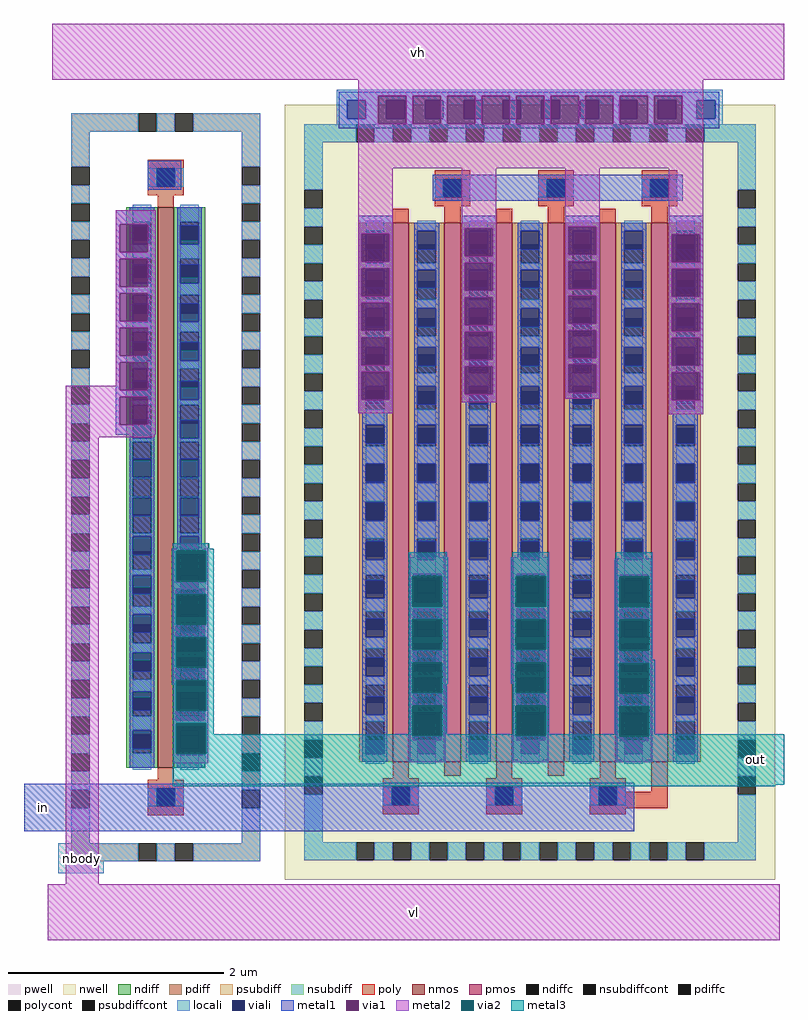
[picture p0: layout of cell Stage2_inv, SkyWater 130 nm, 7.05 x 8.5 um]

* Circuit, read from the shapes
.subckt Stage2_inv in vh vl nbody out
XM1 out in vl nbody sky130_fd_pr__nfet_01v8 w=5.2 l=0.15
XM2 out in vh vh sky130_fd_pr__pfet_01v8 w=5 l=0.15 m=6
.ends

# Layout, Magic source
magic
tech sky130A
magscale 1 2
<< nwell >>
rect 518 1248 582 1268
rect 710 1248 774 1264
rect 902 1248 966 1266
rect 518 1222 612 1248
rect 518 1208 596 1222
rect 710 1218 804 1248
rect 902 1220 996 1248
rect 710 1208 786 1218
rect 902 1208 980 1220
rect 518 1118 582 1208
rect 710 1114 774 1208
rect 902 1116 966 1208
rect 1094 1120 1158 1270
rect 612 332 684 566
rect 604 292 684 332
rect 678 148 708 158
rect 870 148 900 158
rect 564 96 1030 148
rect 1062 142 1092 158
<< poly >>
rect 1062 105 1092 151
rect 1009 101 1092 105
rect 997 75 1092 101
<< locali >>
rect 478 1388 1194 1408
rect 478 1354 498 1388
rect 532 1354 570 1388
rect 604 1354 642 1388
rect 676 1354 714 1388
rect 748 1354 786 1388
rect 820 1354 858 1388
rect 892 1354 930 1388
rect 964 1354 1002 1388
rect 1036 1354 1074 1388
rect 1108 1354 1146 1388
rect 1180 1354 1194 1388
rect 478 1336 1194 1354
rect -38 -46 46 10
<< viali >>
rect 498 1354 532 1388
rect 570 1354 604 1388
rect 642 1354 676 1388
rect 714 1354 748 1388
rect 786 1354 820 1388
rect 858 1354 892 1388
rect 930 1354 964 1388
rect 1002 1354 1036 1388
rect 1074 1354 1108 1388
rect 1146 1354 1180 1388
<< metal1 >>
rect 482 1397 1188 1404
rect 482 1388 555 1397
rect 482 1354 498 1388
rect 532 1354 555 1388
rect 482 1345 555 1354
rect 607 1345 619 1397
rect 671 1388 683 1397
rect 735 1388 747 1397
rect 799 1388 811 1397
rect 863 1388 875 1397
rect 927 1388 939 1397
rect 991 1388 1003 1397
rect 676 1354 683 1388
rect 927 1354 930 1388
rect 991 1354 1002 1388
rect 671 1345 683 1354
rect 735 1345 747 1354
rect 799 1345 811 1354
rect 863 1345 875 1354
rect 927 1345 939 1354
rect 991 1345 1003 1354
rect 1055 1345 1067 1397
rect 1119 1388 1188 1397
rect 1119 1354 1146 1388
rect 1180 1354 1188 1388
rect 1119 1345 1188 1354
rect 482 1336 1188 1345
rect 128 1222 190 1276
rect 656 1202 1120 1250
rect 68 1158 142 1184
rect 68 1106 76 1158
rect 128 1106 142 1158
rect 68 1094 142 1106
rect 68 1042 76 1094
rect 128 1042 142 1094
rect 68 1030 142 1042
rect 68 978 76 1030
rect 128 978 142 1030
rect 68 966 142 978
rect 68 914 76 966
rect 128 914 142 966
rect 68 902 142 914
rect 68 850 76 902
rect 128 850 142 902
rect 68 838 142 850
rect 68 786 76 838
rect 128 786 142 838
rect 518 1141 582 1174
rect 518 1089 524 1141
rect 576 1089 582 1141
rect 518 1077 582 1089
rect 518 1025 524 1077
rect 576 1025 582 1077
rect 518 1013 582 1025
rect 518 961 524 1013
rect 576 961 582 1013
rect 518 949 582 961
rect 518 897 524 949
rect 576 897 582 949
rect 518 885 582 897
rect 518 833 524 885
rect 576 833 582 885
rect 518 808 582 833
rect 710 1151 774 1174
rect 710 1099 716 1151
rect 768 1099 774 1151
rect 710 1087 774 1099
rect 710 1035 716 1087
rect 768 1035 774 1087
rect 710 1023 774 1035
rect 710 971 716 1023
rect 768 971 774 1023
rect 710 959 774 971
rect 710 907 716 959
rect 768 907 774 959
rect 710 895 774 907
rect 710 843 716 895
rect 768 843 774 895
rect 710 828 774 843
rect 902 1154 966 1174
rect 902 1102 908 1154
rect 960 1102 966 1154
rect 902 1090 966 1102
rect 902 1038 908 1090
rect 960 1038 966 1090
rect 902 1026 966 1038
rect 902 974 908 1026
rect 960 974 966 1026
rect 902 962 966 974
rect 902 910 908 962
rect 960 910 966 962
rect 902 898 966 910
rect 902 846 908 898
rect 960 846 966 898
rect 902 834 966 846
rect 1094 1140 1158 1174
rect 1094 1088 1100 1140
rect 1152 1088 1158 1140
rect 1094 1076 1158 1088
rect 1094 1024 1100 1076
rect 1152 1024 1158 1076
rect 1094 1012 1158 1024
rect 1094 960 1100 1012
rect 1152 960 1158 1012
rect 1094 948 1158 960
rect 1094 896 1100 948
rect 1152 896 1158 948
rect 1094 884 1158 896
rect 1094 832 1100 884
rect 1152 832 1158 884
rect 1094 806 1158 832
rect 68 768 142 786
rect 174 546 240 556
rect 174 494 180 546
rect 232 494 240 546
rect 174 482 240 494
rect 174 430 180 482
rect 232 430 240 482
rect 174 418 240 430
rect 174 366 180 418
rect 232 366 240 418
rect 174 354 240 366
rect 174 302 180 354
rect 232 302 240 354
rect 174 290 240 302
rect 174 238 180 290
rect 232 238 240 290
rect 174 226 240 238
rect 174 174 180 226
rect 232 174 240 226
rect 174 158 240 174
rect 614 509 680 540
rect 614 457 620 509
rect 672 457 680 509
rect 614 445 680 457
rect 614 393 620 445
rect 672 393 680 445
rect 614 381 680 393
rect 614 329 620 381
rect 672 329 680 381
rect 614 317 680 329
rect 614 265 620 317
rect 672 265 680 317
rect 614 253 680 265
rect 614 201 620 253
rect 672 201 680 253
rect 614 164 680 201
rect 806 509 872 540
rect 806 457 812 509
rect 864 457 872 509
rect 806 445 872 457
rect 806 393 812 445
rect 864 393 872 445
rect 806 381 872 393
rect 806 329 812 381
rect 864 329 872 381
rect 806 317 872 329
rect 806 265 812 317
rect 864 265 872 317
rect 806 253 872 265
rect 806 201 812 253
rect 864 201 872 253
rect 806 164 872 201
rect 998 508 1064 538
rect 998 456 1004 508
rect 1056 456 1064 508
rect 998 444 1064 456
rect 998 392 1004 444
rect 1056 392 1064 444
rect 998 380 1064 392
rect 998 328 1004 380
rect 1056 328 1064 380
rect 998 316 1064 328
rect 998 264 1004 316
rect 1056 264 1064 316
rect 998 252 1064 264
rect 998 200 1004 252
rect 1056 200 1064 252
rect 998 164 1064 200
rect 564 120 1030 122
rect -102 32 1030 120
<< via1 >>
rect 555 1388 607 1397
rect 555 1354 570 1388
rect 570 1354 604 1388
rect 604 1354 607 1388
rect 555 1345 607 1354
rect 619 1388 671 1397
rect 683 1388 735 1397
rect 747 1388 799 1397
rect 811 1388 863 1397
rect 875 1388 927 1397
rect 939 1388 991 1397
rect 1003 1388 1055 1397
rect 619 1354 642 1388
rect 642 1354 671 1388
rect 683 1354 714 1388
rect 714 1354 735 1388
rect 747 1354 748 1388
rect 748 1354 786 1388
rect 786 1354 799 1388
rect 811 1354 820 1388
rect 820 1354 858 1388
rect 858 1354 863 1388
rect 875 1354 892 1388
rect 892 1354 927 1388
rect 939 1354 964 1388
rect 964 1354 991 1388
rect 1003 1354 1036 1388
rect 1036 1354 1055 1388
rect 619 1345 671 1354
rect 683 1345 735 1354
rect 747 1345 799 1354
rect 811 1345 863 1354
rect 875 1345 927 1354
rect 939 1345 991 1354
rect 1003 1345 1055 1354
rect 1067 1388 1119 1397
rect 1067 1354 1074 1388
rect 1074 1354 1108 1388
rect 1108 1354 1119 1388
rect 1067 1345 1119 1354
rect 76 1106 128 1158
rect 76 1042 128 1094
rect 76 978 128 1030
rect 76 914 128 966
rect 76 850 128 902
rect 76 786 128 838
rect 524 1089 576 1141
rect 524 1025 576 1077
rect 524 961 576 1013
rect 524 897 576 949
rect 524 833 576 885
rect 716 1099 768 1151
rect 716 1035 768 1087
rect 716 971 768 1023
rect 716 907 768 959
rect 716 843 768 895
rect 908 1102 960 1154
rect 908 1038 960 1090
rect 908 974 960 1026
rect 908 910 960 962
rect 908 846 960 898
rect 1100 1088 1152 1140
rect 1100 1024 1152 1076
rect 1100 960 1152 1012
rect 1100 896 1152 948
rect 1100 832 1152 884
rect 180 494 232 546
rect 180 430 232 482
rect 180 366 232 418
rect 180 302 232 354
rect 180 238 232 290
rect 180 174 232 226
rect 620 457 672 509
rect 620 393 672 445
rect 620 329 672 381
rect 620 265 672 317
rect 620 201 672 253
rect 812 457 864 509
rect 812 393 864 445
rect 812 329 864 381
rect 812 265 864 317
rect 812 201 864 253
rect 1004 456 1056 508
rect 1004 392 1056 444
rect 1004 328 1056 380
rect 1004 264 1056 316
rect 1004 200 1056 252
<< metal2 >>
rect -50 1426 1308 1530
rect 518 1397 1158 1426
rect 518 1345 555 1397
rect 607 1345 619 1397
rect 671 1345 683 1397
rect 735 1345 747 1397
rect 799 1345 811 1397
rect 863 1345 875 1397
rect 927 1345 939 1397
rect 991 1345 1003 1397
rect 1055 1345 1067 1397
rect 1119 1345 1158 1397
rect 518 1262 1158 1345
rect 68 1158 142 1184
rect 68 1106 76 1158
rect 128 1106 142 1158
rect 68 1094 142 1106
rect 68 1042 76 1094
rect 128 1042 142 1094
rect 68 1030 142 1042
rect 68 978 76 1030
rect 128 978 142 1030
rect 68 966 142 978
rect 68 914 76 966
rect 128 914 142 966
rect 68 902 142 914
rect 68 859 76 902
rect -25 850 76 859
rect 128 850 142 902
rect -25 838 142 850
rect -25 786 76 838
rect 128 786 142 838
rect 518 1141 582 1262
rect 518 1089 524 1141
rect 576 1089 582 1141
rect 518 1077 582 1089
rect 518 1025 524 1077
rect 576 1025 582 1077
rect 518 1013 582 1025
rect 518 961 524 1013
rect 576 961 582 1013
rect 518 949 582 961
rect 518 897 524 949
rect 576 897 582 949
rect 518 885 582 897
rect 518 833 524 885
rect 576 833 582 885
rect 518 808 582 833
rect 710 1151 774 1262
rect 710 1099 716 1151
rect 768 1099 774 1151
rect 710 1087 774 1099
rect 710 1035 716 1087
rect 768 1035 774 1087
rect 710 1023 774 1035
rect 710 971 716 1023
rect 768 971 774 1023
rect 710 959 774 971
rect 710 907 716 959
rect 768 907 774 959
rect 710 895 774 907
rect 710 843 716 895
rect 768 843 774 895
rect 710 828 774 843
rect 902 1154 966 1262
rect 902 1102 908 1154
rect 960 1102 966 1154
rect 902 1090 966 1102
rect 902 1038 908 1090
rect 960 1038 966 1090
rect 902 1026 966 1038
rect 902 974 908 1026
rect 960 974 966 1026
rect 902 962 966 974
rect 902 910 908 962
rect 960 910 966 962
rect 902 898 966 910
rect 902 846 908 898
rect 960 846 966 898
rect 902 834 966 846
rect 1094 1140 1158 1262
rect 1094 1088 1100 1140
rect 1152 1088 1158 1140
rect 1094 1076 1158 1088
rect 1094 1024 1100 1076
rect 1152 1024 1158 1076
rect 1094 1012 1158 1024
rect 1094 960 1100 1012
rect 1152 960 1158 1012
rect 1094 948 1158 960
rect 1094 896 1100 948
rect 1152 896 1158 948
rect 1094 884 1158 896
rect 1094 832 1100 884
rect 1152 832 1158 884
rect 1094 806 1158 832
rect -25 768 142 786
rect -25 763 141 768
rect -25 -66 37 763
rect 174 552 240 566
rect 174 494 180 552
rect 236 496 240 552
rect 614 540 680 550
rect 232 494 240 496
rect 174 482 240 494
rect 174 238 180 482
rect 232 472 240 482
rect 236 416 240 472
rect 232 392 240 416
rect 236 336 240 392
rect 232 312 240 336
rect 236 256 240 312
rect 232 238 240 256
rect 174 232 240 238
rect 174 174 180 232
rect 236 176 240 232
rect 232 174 240 176
rect 174 158 240 174
rect 612 509 680 540
rect 612 505 620 509
rect 672 505 680 509
rect 612 449 618 505
rect 674 449 680 505
rect 612 445 680 449
rect 612 425 620 445
rect 672 425 680 445
rect 612 369 618 425
rect 674 369 680 425
rect 612 345 620 369
rect 672 345 680 369
rect 612 289 618 345
rect 674 289 680 345
rect 612 265 620 289
rect 672 265 680 289
rect 612 209 618 265
rect 674 209 680 265
rect 612 201 620 209
rect 672 201 680 209
rect 612 160 680 201
rect 804 509 872 550
rect 804 505 812 509
rect 864 505 872 509
rect 804 449 810 505
rect 866 449 872 505
rect 804 445 872 449
rect 804 425 812 445
rect 864 425 872 445
rect 804 369 810 425
rect 866 369 872 425
rect 804 345 812 369
rect 864 345 872 369
rect 804 289 810 345
rect 866 289 872 345
rect 804 265 812 289
rect 864 265 872 289
rect 804 209 810 265
rect 866 209 872 265
rect 804 201 812 209
rect 864 201 872 209
rect 804 160 872 201
rect 996 508 1064 550
rect 996 504 1004 508
rect 1056 504 1064 508
rect 996 448 1002 504
rect 1058 448 1064 504
rect 996 444 1064 448
rect 996 424 1004 444
rect 1056 424 1064 444
rect 996 368 1002 424
rect 1058 368 1064 424
rect 996 344 1004 368
rect 1056 344 1064 368
rect 996 288 1002 344
rect 1058 288 1064 344
rect 996 264 1004 288
rect 1056 264 1064 288
rect 996 208 1002 264
rect 1058 208 1064 264
rect 996 200 1004 208
rect 1056 200 1064 208
rect 996 160 1064 200
rect -58 -170 1300 -66
<< via2 >>
rect 180 546 236 552
rect 180 496 232 546
rect 232 496 236 546
rect 180 430 232 472
rect 232 430 236 472
rect 180 418 236 430
rect 180 416 232 418
rect 232 416 236 418
rect 180 366 232 392
rect 232 366 236 392
rect 180 354 236 366
rect 180 336 232 354
rect 232 336 236 354
rect 180 302 232 312
rect 232 302 236 312
rect 180 290 236 302
rect 180 256 232 290
rect 232 256 236 290
rect 180 226 236 232
rect 180 176 232 226
rect 232 176 236 226
rect 618 457 620 505
rect 620 457 672 505
rect 672 457 674 505
rect 618 449 674 457
rect 618 393 620 425
rect 620 393 672 425
rect 672 393 674 425
rect 618 381 674 393
rect 618 369 620 381
rect 620 369 672 381
rect 672 369 674 381
rect 618 329 620 345
rect 620 329 672 345
rect 672 329 674 345
rect 618 317 674 329
rect 618 289 620 317
rect 620 289 672 317
rect 672 289 674 317
rect 618 253 674 265
rect 618 209 620 253
rect 620 209 672 253
rect 672 209 674 253
rect 810 457 812 505
rect 812 457 864 505
rect 864 457 866 505
rect 810 449 866 457
rect 810 393 812 425
rect 812 393 864 425
rect 864 393 866 425
rect 810 381 866 393
rect 810 369 812 381
rect 812 369 864 381
rect 864 369 866 381
rect 810 329 812 345
rect 812 329 864 345
rect 864 329 866 345
rect 810 317 866 329
rect 810 289 812 317
rect 812 289 864 317
rect 864 289 866 317
rect 810 253 866 265
rect 810 209 812 253
rect 812 209 864 253
rect 864 209 866 253
rect 1002 456 1004 504
rect 1004 456 1056 504
rect 1056 456 1058 504
rect 1002 448 1058 456
rect 1002 392 1004 424
rect 1004 392 1056 424
rect 1056 392 1058 424
rect 1002 380 1058 392
rect 1002 368 1004 380
rect 1004 368 1056 380
rect 1056 368 1058 380
rect 1002 328 1004 344
rect 1004 328 1056 344
rect 1056 328 1058 344
rect 1002 316 1058 328
rect 1002 288 1004 316
rect 1004 288 1056 316
rect 1056 288 1058 316
rect 1002 252 1058 264
rect 1002 208 1004 252
rect 1004 208 1056 252
rect 1056 208 1058 252
<< metal3 >>
rect 174 556 242 566
rect 172 552 250 556
rect 172 496 180 552
rect 236 496 250 552
rect 172 472 250 496
rect 172 416 180 472
rect 236 416 250 472
rect 172 392 250 416
rect 172 336 180 392
rect 236 336 250 392
rect 172 312 250 336
rect 172 304 180 312
rect 174 256 180 304
rect 236 256 250 312
rect 174 232 250 256
rect 174 176 180 232
rect 236 212 250 232
rect 612 540 682 550
rect 804 540 872 550
rect 612 505 684 540
rect 612 449 618 505
rect 674 449 684 505
rect 612 425 684 449
rect 612 369 618 425
rect 674 369 684 425
rect 612 345 684 369
rect 612 289 618 345
rect 674 306 684 345
rect 802 505 872 540
rect 996 538 1064 550
rect 802 449 810 505
rect 866 449 872 505
rect 802 425 872 449
rect 802 369 810 425
rect 866 369 872 425
rect 802 345 872 369
rect 802 306 810 345
rect 674 289 682 306
rect 612 265 682 289
rect 612 212 618 265
rect 236 209 618 212
rect 674 212 682 265
rect 804 289 810 306
rect 866 289 872 345
rect 804 265 872 289
rect 804 212 810 265
rect 674 209 810 212
rect 866 212 872 265
rect 994 504 1064 538
rect 994 448 1002 504
rect 1058 448 1064 504
rect 994 424 1064 448
rect 994 368 1002 424
rect 1058 368 1064 424
rect 994 350 1064 368
rect 994 344 1068 350
rect 994 288 1002 344
rect 1058 288 1068 344
rect 994 264 1068 288
rect 994 212 1002 264
rect 866 209 1002 212
rect 236 208 1002 209
rect 1058 212 1068 264
rect 1058 208 1308 212
rect 236 176 1308 208
rect 174 118 1308 176
rect 174 116 1292 118
use sky130_fd_pr__pfet_01v8_27F7GK  sky130_fd_pr__pfet_01v8_27F7GK_0
transform 1 0 837 0 1 661
box -455 -719 455 719
use sky130_fd_pr__nfet_01v8_LW2HKK  sky130_fd_pr__nfet_01v8_LW2HKK_0
transform 1 0 161 0 1 670
box -175 -694 175 694
<< labels >>
rlabel metal1 s -102 32 -28 120 4 in
port 1 nsew
rlabel metal2 s -44 1430 1302 1524 4 vh
port 2 nsew
rlabel metal2 s -54 -164 1294 -72 4 vl
port 3 nsew
rlabel locali s -32 -40 40 4 4 nbody
port 4 nsew
rlabel metal3 s 1208 122 1304 208 4 out
port 5 nsew
<< end >>

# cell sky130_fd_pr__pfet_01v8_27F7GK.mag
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
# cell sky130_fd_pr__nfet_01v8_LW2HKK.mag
magic
tech sky130A
magscale 1 2
<< pwell >>
rect -175 660 175 694
rect -175 -660 -141 660
rect 141 -660 175 660
rect -175 -694 175 -660
<< nmos >>
rect -15 -520 15 520
<< ndiff >>
rect -73 493 -15 520
rect -73 459 -61 493
rect -27 459 -15 493
rect -73 425 -15 459
rect -73 391 -61 425
rect -27 391 -15 425
rect -73 357 -15 391
rect -73 323 -61 357
rect -27 323 -15 357
rect -73 289 -15 323
rect -73 255 -61 289
rect -27 255 -15 289
rect -73 221 -15 255
rect -73 187 -61 221
rect -27 187 -15 221
rect -73 153 -15 187
rect -73 119 -61 153
rect -27 119 -15 153
rect -73 85 -15 119
rect -73 51 -61 85
rect -27 51 -15 85
rect -73 17 -15 51
rect -73 -17 -61 17
rect -27 -17 -15 17
rect -73 -51 -15 -17
rect -73 -85 -61 -51
rect -27 -85 -15 -51
rect -73 -119 -15 -85
rect -73 -153 -61 -119
rect -27 -153 -15 -119
rect -73 -187 -15 -153
rect -73 -221 -61 -187
rect -27 -221 -15 -187
rect -73 -255 -15 -221
rect -73 -289 -61 -255
rect -27 -289 -15 -255
rect -73 -323 -15 -289
rect -73 -357 -61 -323
rect -27 -357 -15 -323
rect -73 -391 -15 -357
rect -73 -425 -61 -391
rect -27 -425 -15 -391
rect -73 -459 -15 -425
rect -73 -493 -61 -459
rect -27 -493 -15 -459
rect -73 -520 -15 -493
rect 15 493 73 520
rect 15 459 27 493
rect 61 459 73 493
rect 15 425 73 459
rect 15 391 27 425
rect 61 391 73 425
rect 15 357 73 391
rect 15 323 27 357
rect 61 323 73 357
rect 15 289 73 323
rect 15 255 27 289
rect 61 255 73 289
rect 15 221 73 255
rect 15 187 27 221
rect 61 187 73 221
rect 15 153 73 187
rect 15 119 27 153
rect 61 119 73 153
rect 15 85 73 119
rect 15 51 27 85
rect 61 51 73 85
rect 15 17 73 51
rect 15 -17 27 17
rect 61 -17 73 17
rect 15 -51 73 -17
rect 15 -85 27 -51
rect 61 -85 73 -51
rect 15 -119 73 -85
rect 15 -153 27 -119
rect 61 -153 73 -119
rect 15 -187 73 -153
rect 15 -221 27 -187
rect 61 -221 73 -187
rect 15 -255 73 -221
rect 15 -289 27 -255
rect 61 -289 73 -255
rect 15 -323 73 -289
rect 15 -357 27 -323
rect 61 -357 73 -323
rect 15 -391 73 -357
rect 15 -425 27 -391
rect 61 -425 73 -391
rect 15 -459 73 -425
rect 15 -493 27 -459
rect 61 -493 73 -459
rect 15 -520 73 -493
<< ndiffc >>
rect -61 459 -27 493
rect -61 391 -27 425
rect -61 323 -27 357
rect -61 255 -27 289
rect -61 187 -27 221
rect -61 119 -27 153
rect -61 51 -27 85
rect -61 -17 -27 17
rect -61 -85 -27 -51
rect -61 -153 -27 -119
rect -61 -221 -27 -187
rect -61 -289 -27 -255
rect -61 -357 -27 -323
rect -61 -425 -27 -391
rect -61 -493 -27 -459
rect 27 459 61 493
rect 27 391 61 425
rect 27 323 61 357
rect 27 255 61 289
rect 27 187 61 221
rect 27 119 61 153
rect 27 51 61 85
rect 27 -17 61 17
rect 27 -85 61 -51
rect 27 -153 61 -119
rect 27 -221 61 -187
rect 27 -289 61 -255
rect 27 -357 61 -323
rect 27 -425 61 -391
rect 27 -493 61 -459
<< psubdiff >>
rect -175 660 -51 694
rect -17 660 17 694
rect 51 660 175 694
rect -175 595 -141 660
rect -175 527 -141 561
rect 141 595 175 660
rect 141 527 175 561
rect -175 459 -141 493
rect -175 391 -141 425
rect -175 323 -141 357
rect -175 255 -141 289
rect -175 187 -141 221
rect -175 119 -141 153
rect -175 51 -141 85
rect -175 -17 -141 17
rect -175 -85 -141 -51
rect -175 -153 -141 -119
rect -175 -221 -141 -187
rect -175 -289 -141 -255
rect -175 -357 -141 -323
rect -175 -425 -141 -391
rect -175 -493 -141 -459
rect 141 459 175 493
rect 141 391 175 425
rect 141 323 175 357
rect 141 255 175 289
rect 141 187 175 221
rect 141 119 175 153
rect 141 51 175 85
rect 141 -17 175 17
rect 141 -85 175 -51
rect 141 -153 175 -119
rect 141 -221 175 -187
rect 141 -289 175 -255
rect 141 -357 175 -323
rect 141 -425 175 -391
rect 141 -493 175 -459
rect -175 -561 -141 -527
rect -175 -660 -141 -595
rect 141 -561 175 -527
rect 141 -660 175 -595
rect -175 -694 -51 -660
rect -17 -694 17 -660
rect 51 -694 175 -660
<< psubdiffcont >>
rect -51 660 -17 694
rect 17 660 51 694
rect -175 561 -141 595
rect 141 561 175 595
rect -175 493 -141 527
rect -175 425 -141 459
rect -175 357 -141 391
rect -175 289 -141 323
rect -175 221 -141 255
rect -175 153 -141 187
rect -175 85 -141 119
rect -175 17 -141 51
rect -175 -51 -141 -17
rect -175 -119 -141 -85
rect -175 -187 -141 -153
rect -175 -255 -141 -221
rect -175 -323 -141 -289
rect -175 -391 -141 -357
rect -175 -459 -141 -425
rect -175 -527 -141 -493
rect 141 493 175 527
rect 141 425 175 459
rect 141 357 175 391
rect 141 289 175 323
rect 141 221 175 255
rect 141 153 175 187
rect 141 85 175 119
rect 141 17 175 51
rect 141 -51 175 -17
rect 141 -119 175 -85
rect 141 -187 175 -153
rect 141 -255 175 -221
rect 141 -323 175 -289
rect 141 -391 175 -357
rect 141 -459 175 -425
rect 141 -527 175 -493
rect -175 -595 -141 -561
rect 141 -595 175 -561
rect -51 -694 -17 -660
rect 17 -694 51 -660
<< poly >>
rect -33 592 33 608
rect -33 558 -17 592
rect 17 558 33 592
rect -33 542 33 558
rect -15 520 15 542
rect -15 -542 15 -520
rect -33 -558 33 -542
rect -33 -592 -17 -558
rect 17 -592 33 -558
rect -33 -608 33 -592
<< polycont >>
rect -17 558 17 592
rect -17 -592 17 -558
<< locali >>
rect -175 660 -51 694
rect -17 660 17 694
rect 51 660 175 694
rect -175 595 -141 660
rect 141 595 175 660
rect -175 527 -141 561
rect -33 558 -17 592
rect 17 558 33 592
rect 141 527 175 561
rect -175 459 -141 493
rect -175 391 -141 425
rect -175 323 -141 357
rect -175 255 -141 289
rect -175 187 -141 221
rect -175 119 -141 153
rect -175 51 -141 85
rect -175 -17 -141 17
rect -175 -85 -141 -51
rect -175 -153 -141 -119
rect -175 -221 -141 -187
rect -175 -289 -141 -255
rect -175 -357 -141 -323
rect -175 -425 -141 -391
rect -175 -493 -141 -459
rect -61 493 -27 524
rect -61 425 -27 451
rect -61 357 -27 379
rect -61 289 -27 307
rect -61 221 -27 235
rect -61 153 -27 163
rect -61 85 -27 91
rect -61 17 -27 19
rect -61 -19 -27 -17
rect -61 -91 -27 -85
rect -61 -163 -27 -153
rect -61 -235 -27 -221
rect -61 -307 -27 -289
rect -61 -379 -27 -357
rect -61 -451 -27 -425
rect -61 -524 -27 -493
rect 27 493 61 524
rect 27 425 61 451
rect 27 357 61 379
rect 27 289 61 307
rect 27 221 61 235
rect 27 153 61 163
rect 27 85 61 91
rect 27 17 61 19
rect 27 -19 61 -17
rect 27 -91 61 -85
rect 27 -163 61 -153
rect 27 -235 61 -221
rect 27 -307 61 -289
rect 27 -379 61 -357
rect 27 -451 61 -425
rect 27 -524 61 -493
rect 141 459 175 493
rect 141 391 175 425
rect 141 323 175 357
rect 141 255 175 289
rect 141 187 175 221
rect 141 119 175 153
rect 141 51 175 85
rect 141 -17 175 17
rect 141 -85 175 -51
rect 141 -153 175 -119
rect 141 -221 175 -187
rect 141 -289 175 -255
rect 141 -357 175 -323
rect 141 -425 175 -391
rect 141 -493 175 -459
rect -175 -561 -141 -527
rect -33 -592 -17 -558
rect 17 -592 33 -558
rect 141 -561 175 -527
rect -175 -660 -141 -595
rect 141 -660 175 -595
rect -175 -694 -51 -660
rect -17 -694 17 -660
rect 51 -694 175 -660
<< viali >>
rect -17 558 17 592
rect -61 459 -27 485
rect -61 451 -27 459
rect -61 391 -27 413
rect -61 379 -27 391
rect -61 323 -27 341
rect -61 307 -27 323
rect -61 255 -27 269
rect -61 235 -27 255
rect -61 187 -27 197
rect -61 163 -27 187
rect -61 119 -27 125
rect -61 91 -27 119
rect -61 51 -27 53
rect -61 19 -27 51
rect -61 -51 -27 -19
rect -61 -53 -27 -51
rect -61 -119 -27 -91
rect -61 -125 -27 -119
rect -61 -187 -27 -163
rect -61 -197 -27 -187
rect -61 -255 -27 -235
rect -61 -269 -27 -255
rect -61 -323 -27 -307
rect -61 -341 -27 -323
rect -61 -391 -27 -379
rect -61 -413 -27 -391
rect -61 -459 -27 -451
rect -61 -485 -27 -459
rect 27 459 61 485
rect 27 451 61 459
rect 27 391 61 413
rect 27 379 61 391
rect 27 323 61 341
rect 27 307 61 323
rect 27 255 61 269
rect 27 235 61 255
rect 27 187 61 197
rect 27 163 61 187
rect 27 119 61 125
rect 27 91 61 119
rect 27 51 61 53
rect 27 19 61 51
rect 27 -51 61 -19
rect 27 -53 61 -51
rect 27 -119 61 -91
rect 27 -125 61 -119
rect 27 -187 61 -163
rect 27 -197 61 -187
rect 27 -255 61 -235
rect 27 -269 61 -255
rect 27 -323 61 -307
rect 27 -341 61 -323
rect 27 -391 61 -379
rect 27 -413 61 -391
rect 27 -459 61 -451
rect 27 -485 61 -459
rect -17 -592 17 -558
<< metal1 >>
rect -29 592 29 598
rect -29 558 -17 592
rect 17 558 29 592
rect -29 552 29 558
rect -67 485 -21 520
rect -67 451 -61 485
rect -27 451 -21 485
rect -67 413 -21 451
rect -67 379 -61 413
rect -27 379 -21 413
rect -67 341 -21 379
rect -67 307 -61 341
rect -27 307 -21 341
rect -67 269 -21 307
rect -67 235 -61 269
rect -27 235 -21 269
rect -67 197 -21 235
rect -67 163 -61 197
rect -27 163 -21 197
rect -67 125 -21 163
rect -67 91 -61 125
rect -27 91 -21 125
rect -67 53 -21 91
rect -67 19 -61 53
rect -27 19 -21 53
rect -67 -19 -21 19
rect -67 -53 -61 -19
rect -27 -53 -21 -19
rect -67 -91 -21 -53
rect -67 -125 -61 -91
rect -27 -125 -21 -91
rect -67 -163 -21 -125
rect -67 -197 -61 -163
rect -27 -197 -21 -163
rect -67 -235 -21 -197
rect -67 -269 -61 -235
rect -27 -269 -21 -235
rect -67 -307 -21 -269
rect -67 -341 -61 -307
rect -27 -341 -21 -307
rect -67 -379 -21 -341
rect -67 -413 -61 -379
rect -27 -413 -21 -379
rect -67 -451 -21 -413
rect -67 -485 -61 -451
rect -27 -485 -21 -451
rect -67 -520 -21 -485
rect 21 485 67 520
rect 21 451 27 485
rect 61 451 67 485
rect 21 413 67 451
rect 21 379 27 413
rect 61 379 67 413
rect 21 341 67 379
rect 21 307 27 341
rect 61 307 67 341
rect 21 269 67 307
rect 21 235 27 269
rect 61 235 67 269
rect 21 197 67 235
rect 21 163 27 197
rect 61 163 67 197
rect 21 125 67 163
rect 21 91 27 125
rect 61 91 67 125
rect 21 53 67 91
rect 21 19 27 53
rect 61 19 67 53
rect 21 -19 67 19
rect 21 -53 27 -19
rect 61 -53 67 -19
rect 21 -91 67 -53
rect 21 -125 27 -91
rect 61 -125 67 -91
rect 21 -163 67 -125
rect 21 -197 27 -163
rect 61 -197 67 -163
rect 21 -235 67 -197
rect 21 -269 27 -235
rect 61 -269 67 -235
rect 21 -307 67 -269
rect 21 -341 27 -307
rect 61 -341 67 -307
rect 21 -379 67 -341
rect 21 -413 27 -379
rect 61 -413 67 -379
rect 21 -451 67 -413
rect 21 -485 27 -451
rect 61 -485 67 -451
rect 21 -520 67 -485
rect -29 -558 29 -552
rect -29 -592 -17 -558
rect 17 -592 29 -558
rect -29 -598 29 -592
<< properties >>
string FIXED_BBOX -158 -677 158 677
<< end >>
